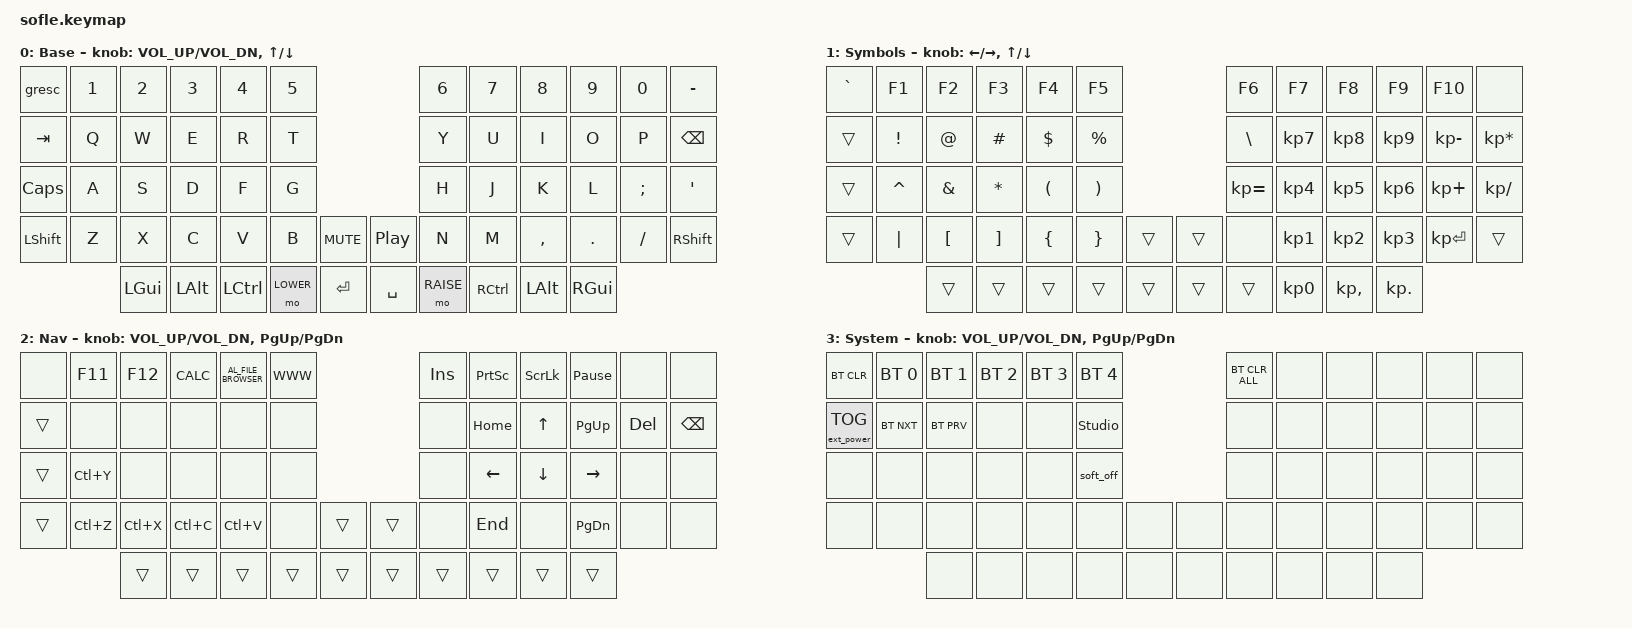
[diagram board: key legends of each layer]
/*
 * Copyright (c) 2020 The ZMK Contributors
 *
 * SPDX-License-Identifier: MIT
 */

#include <behaviors.dtsi>
#include <dt-bindings/zmk/bt.h>
#include <dt-bindings/zmk/ext_power.h>
#include <dt-bindings/zmk/keys.h>

// Encoders

&sensors { triggers-per-rotation = <30>; };

&left_encoder { steps = <60>; };

&right_encoder { steps = <60>; };

#define BASE 0
#define LOWER 1
#define RAISE 2
#define ADJUST 3

/ {
    // Activate ADJUST layer by pressing raise and lower

    conditional_layers {
        compatible = "zmk,conditional-layers";

        adjust_layer {
            if-layers = <LOWER RAISE>;
            then-layer = <ADJUST>;
        };
    };

    combos {
        compatible = "zmk,combos";

        backspace {
            bindings = <&kp BACKSPACE>;
            key-positions = <32 31>;
        };

        delete {
            bindings = <&kp DELETE>;
            key-positions = <27 33>;
        };

        esc {
            bindings = <&kp ESCAPE>;
            key-positions = <25 41>;
        };
    };

    behaviors {
        caps: caps {
            compatible = "zmk,behavior-caps-word";
            label = "CAPS";
            #binding-cells = <0>;
            continue-list = <POUND MINUS BACKSPACE UNDERSCORE>;
        };
    };

    keymap {
        compatible = "zmk,keymap";

        default_layer {
            display-name = "Base";

            // ------------------------------------------------------------------------------------------------------------
            // |   `   |  1  |  2  |  3   |  4   |  5   |                   |  6   |  7    |  8    |  9   |   0   |       |
            // |  ESC  |  Q  |  W  |  E   |  R   |  T   |                   |  Y   |  U    |  I    |  O   |   P   | BKSPC |
            // |  TAB  |  A  |  S  |  D   |  F   |  G   |                   |  H   |  J    |  K    |  L   |   ;   |   '   |
            // | SHIFT |  Z  |  X  |  C   |  V   |  B   |  MUTE  |  |       |  N   |  M    |  ,    |  .   |   /   | SHIFT |
            //               | GUI | ALT  | CTRL | LOWER|  ENTER |  | SPACE | RAISE| CTRL  | ALT   | GUI  |

            bindings = <
&gresc          &kp N1  &kp N2    &kp N3    &kp N4     &kp N5                                     &kp N6     &kp N7     &kp N8     &kp N9    &kp N0    &kp MINUS
&kp TAB         &kp Q   &kp W     &kp E     &kp R      &kp T                                      &kp Y      &kp U      &kp I      &kp O     &kp P     &kp BSPC
&kp CAPS        &kp A   &kp S     &kp D     &kp F      &kp G                                      &kp H      &kp J      &kp K      &kp L     &kp SEMI  &kp SQT
&kp LEFT_SHIFT  &kp Z   &kp X     &kp C     &kp V      &kp B      &kp C_MUTE    &kp C_PLAY_PAUSE  &kp N      &kp M      &kp COMMA  &kp DOT   &kp FSLH  &kp RSHFT
                        &kp LGUI  &kp LALT  &kp LCTRL  &mo LOWER  &kp ENTER     &kp SPACE         &mo RAISE  &kp RCTRL  &kp LALT   &kp RGUI
            >;

            sensor-bindings = <&inc_dec_kp C_VOL_UP C_VOL_DN &inc_dec_kp UP DOWN>;
        };

        lower_layer {
            display-name = "Symbols";

            // TODO: Some binds are waiting for shifted keycode support.
            // ------------------------------------------------------------------------------------------------------------
            // |       |  F1 |  F2 |  F3  |  F4  |  F5  |                   |  F6  |  F7   |  F8   |  F9  |  F10  |  F11  |
            // |   `   |  1  |  2  |  3   |  4   |  5   |                   |  6   |  7    |  8    |  9   |   0   |  F12  |
            // |       |  !  |  @  |  #   |  $   |  %   |                   |  ^   |  &    |  *    |  (   |   )   |   |   |
            // |       |  =  |  -  |  +   |  {   |  }   |        |  |       |  [   |  ]    |  ;    |  :   |   \   |       |
            //               |     |      |      |      |        |  |       |      |       |       |      |

            bindings = <
&kp GRAVE  &kp F1     &kp F2         &kp F3        &kp F4                &kp F5                                   &kp F6         &kp F7           &kp F8           &kp F9           &kp F10       &none
&trans     &kp EXCL   &kp AT         &kp HASH      &kp DOLLAR            &kp PERCENT                              &kp BACKSLASH  &kp KP_NUMBER_7  &kp KP_N8        &kp KP_N9        &kp KP_MINUS  &kp KP_MULTIPLY
&trans     &kp CARET  &kp AMPERSAND  &kp ASTERISK  &kp LEFT_PARENTHESIS  &kp RIGHT_PARENTHESIS                    &kp KP_EQUAL   &kp KP_NUMBER_4  &kp KP_NUMBER_5  &kp KP_NUMBER_6  &kp KP_PLUS   &kp KP_DIVIDE
&trans     &kp PIPE   &kp LBKT       &kp RBKT      &kp LBRC              &kp RBRC               &trans    &trans  &none          &kp KP_NUMBER_1  &kp KP_NUMBER_2  &kp KP_NUMBER_3  &kp KP_ENTER  &trans
                      &trans         &trans        &trans                &trans                 &trans    &trans  &trans         &kp KP_NUMBER_0  &kp KP_COMMA     &kp KP_DOT
            >;

            sensor-bindings =
                <&inc_dec_kp LEFT_ARROW RIGHT_ARROW>,
                <&inc_dec_kp UP_ARROW DOWN_ARROW>;
        };

        raise_layer {
            display-name = "Nav";

            // ------------------------------------------------------------------------------------------------------------
            // | BTCLR | BT1  | BT2  |  BT3  |  BT4  |  BT5 |                |      |      |       |      |       |       |
            // |       | INS  | PSCR | GUI   |       |      |                | PGUP |      |   ^   |      |       |       |
            // |       | ALT  | CTRL | SHIFT |       | CAPS |                | PGDN |   <- |   v   |  ->  |  DEL  | BKSPC |
            // |       | UNDO | CUT  | COPY  | PASTE |      |      |  |      |      |      |       |      |       |       |
            //                |      |       |       |      |      |  |      |      |      |       |      |

            bindings = <
&none   &kp F11    &kp F12    &kp K_CALC  &kp C_AL_FILE_BROWSER  &kp K_WWW                    &kp INSERT  &kp PRINTSCREEN  &kp SCROLLLOCK  &kp PAUSE_BREAK  &none       &none
&trans  &none      &none      &none       &none                  &none                        &none       &kp HOME         &kp UP          &kp PAGE_UP      &kp DELETE  &kp BACKSPACE
&trans  &kp LC(Y)  &none      &none       &none                  &none                        &none       &kp LEFT         &kp DOWN        &kp RIGHT        &none       &none
&trans  &kp LC(Z)  &kp LC(X)  &kp LC(C)   &kp LC(V)              &none      &trans    &trans  &none       &kp END          &none           &kp PAGE_DOWN    &none       &none
                   &trans     &trans      &trans                 &trans     &trans    &trans  &trans      &trans           &trans          &trans
            >;

            sensor-bindings = <&inc_dec_kp C_VOL_UP C_VOL_DN &inc_dec_kp PG_UP PG_DN>;
        };

        adjust_layer {
            // ----------------------------------------------------------------------------------------------------------------------------
            // | BTCLR  |  BT1    |  BT2    |   BT3   |   BT4   |   BT5   |                  |      |      |       |      |       |       |
            // | EXTPWR | RGB_HUD | RGB_HUI | RGB_SAD | RGB_SAI | RGB_EFF |                  |      |      |       |      |       |       |
            // |        | RGB_BRD | RGB_BRI |         |         |         |                  |      |      |       |      |       |       |
            // |        |         |         |         |         |         | RGB_TOG | |      |      |      |       |      |       |       |
            //                    |         |         |         |         |         | |      |      |      |       |      |

            display-name = "System";
            bindings = <
&bt BT_CLR         &bt BT_SEL 0  &bt BT_SEL 1  &bt BT_SEL 2  &bt BT_SEL 3  &bt BT_SEL 4                    &bt BT_CLR_ALL  &none  &none  &none  &none  &none
&ext_power EP_TOG  &bt BT_NXT    &bt BT_PRV    &none         &none         &studio_unlock                  &none           &none  &none  &none  &none  &none
&none              &none         &none         &none         &none         &soft_off                       &none           &none  &none  &none  &none  &none
&none              &none         &none         &none         &none         &none           &none    &none  &none           &none  &none  &none  &none  &none
                                 &none         &none         &none         &none           &none    &none  &none           &none  &none  &none
            >;

            sensor-bindings = <&inc_dec_kp C_VOL_UP C_VOL_DN &inc_dec_kp PG_UP PG_DN>;
        };
    };
};
